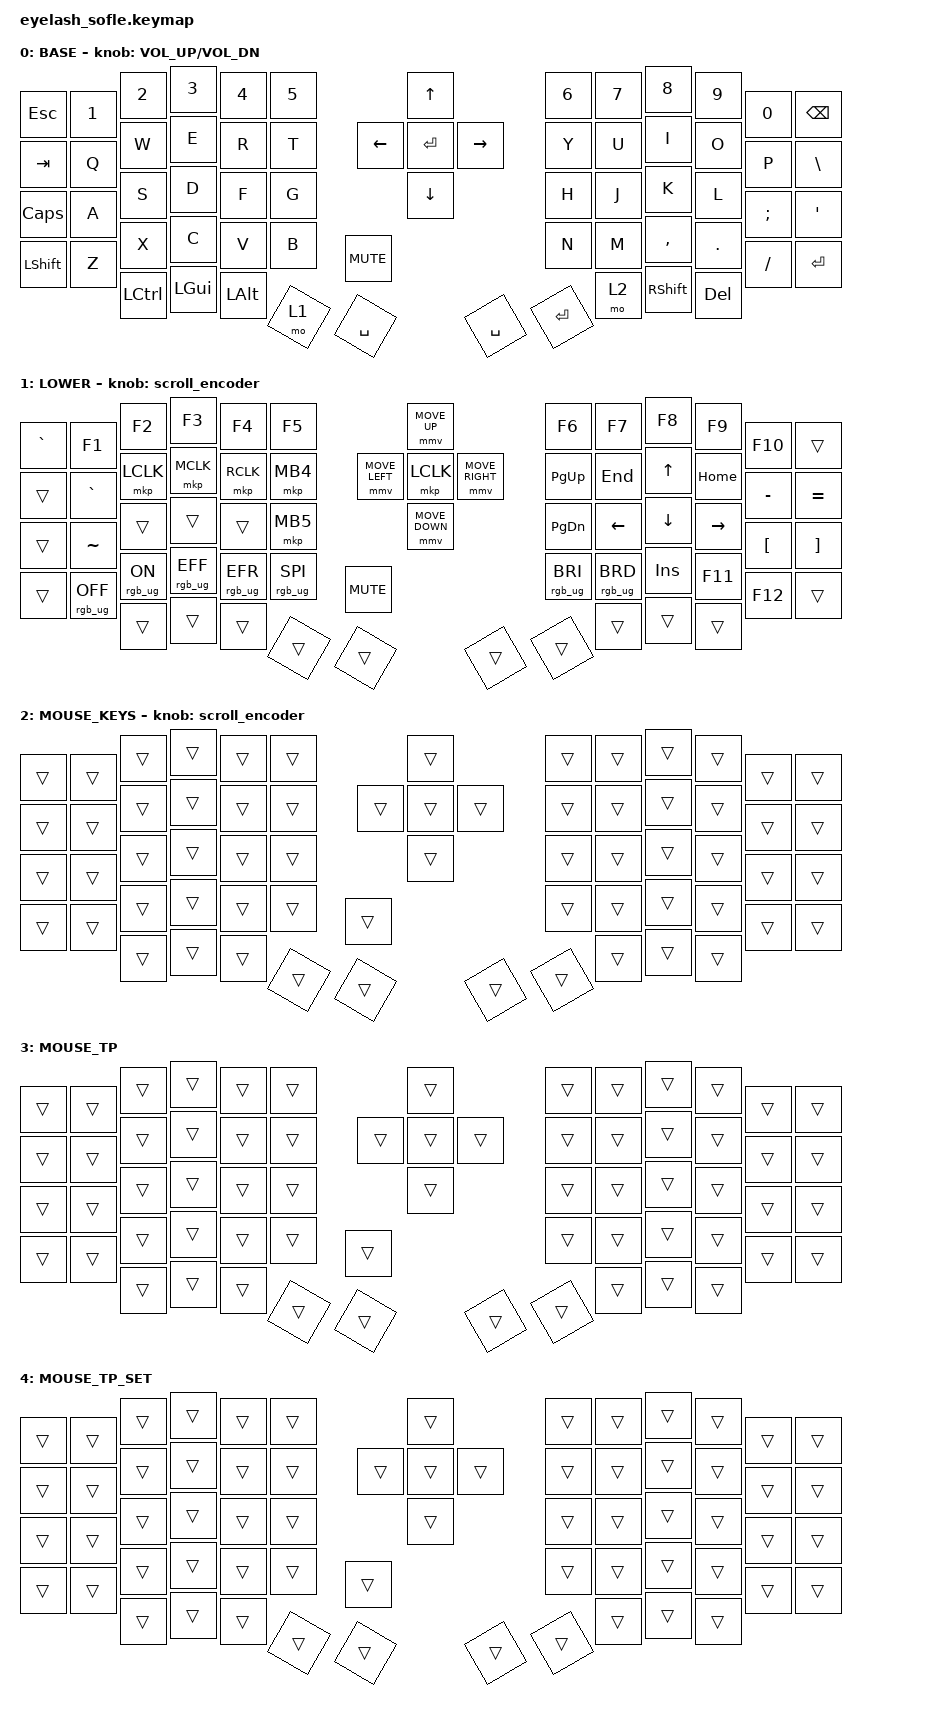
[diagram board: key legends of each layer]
#define ZMK_POINTING_DEFAULT_MOVE_VAL 1200  // 600
#define ZMK_POINTING_DEFAULT_SCRL_VAL 25   // 10

#include <input/processors.dtsi>
#include <zephyr/dt-bindings/input/input-event-codes.h>
#include <behaviors.dtsi>
#include <dt-bindings/zmk/bt.h>
#include <dt-bindings/zmk/ext_power.h>
#include <dt-bindings/zmk/keys.h>
#include <dt-bindings/zmk/pointing.h>
#include <dt-bindings/zmk/rgb.h>
#include <dt-bindings/zmk/outputs.h>


#define BASE 0
#define LOWER 1
#define MOUSE_KEYS 2
#define MOUSE_TP 3
#define MOUSE_TP_SET 4

// trackpoint setting start

/*
 * Defines to enable/disable features
 *
 * These defines allow us to conditionally enable and disable parts of the keymap config.
 *
 * For example, if we decide to build the firmware without the mouse features, we can
 * disable all the config options that rely on those forks and modules without having
 * to edit the entire keymap file manually every time.
 */

#define HAS_MOUSE_KEYS
#define HAS_MOUSE_TP

#ifdef HAS_MOUSE_KEYS
  #include <dt-bindings/zmk/mouse.h>
  #include <behaviors/mouse_keys.dtsi>
#endif  // HAS_MOUSE_KEYS

#ifdef HAS_MOUSE_TP
  // We store the trackpoint settings in a separate file
  // to make organization a little easier.
  #include "include/mouse_tp.dtsi"
#endif  // HAS_MOUSE_TP



// Adjust layer keys based on enabled features.
//
// This prevents build errors when we build the firmware
// without the mouse keys PR or the TP module.
#ifdef HAS_MOUSE_KEYS
  #define U_THUMB_INNER &mo MOUSE_KEYS
#else
  #define U_THUMB_INNER &none
#endif  // HAS_MOUSE_KEYS

#ifdef HAS_MOUSE_TP
  #define U_TOG_TP_SET &tog MOUSE_TP_SET
#else
  #define U_TOG_TP_SET &none
#endif  // HAS_MOUSE_TP

// trackpoint setting end


/ {
    scroll_encoder: scroll_encoder {
        compatible = "zmk,behavior-sensor-rotate";
        #sensor-binding-cells = <0>;
        bindings = <&msc SCRL_DOWN>, <&msc SCRL_UP>;
        tap-ms = <100>;
    };

    keymap {
        compatible = "zmk,keymap";
        BASE {
            display-name = "BASE";
            bindings = <
&kp ESC     &kp N1     &kp N2        &kp N3        &kp N4  &kp N5       &kp UP_ARROW     &kp N6     &kp N7     &kp N8     &kp N9           &kp N0      &kp BACKSPACE
&kp TAB     &kp Q      &kp W         &kp E         &kp R   &kp T        &kp DOWN_ARROW   &kp Y      &kp U      &kp I      &kp O            &kp P       &kp BSLH
&kp CAPS    &kp A      &kp S         &kp D         &kp F   &kp G        &kp LEFT_ARROW   &kp H      &kp J      &kp K      &kp L            &kp SEMI    &kp APOS
&kp LSHFT   &kp Z      &kp X         &kp C         &kp V   &kp B        &kp RIGHT_ARROW  &kp N      &kp M      &kp COMMA  &kp DOT          &kp FSLH    &kp ENTER
&kp C_MUTE  &kp LCTRL  &kp LEFT_GUI  &kp LEFT_ALT  &mo 1   &kp SPACE    &kp ENTER        &kp SPACE  &kp ENTER  &mo 2      &kp RIGHT_SHIFT  &kp DELETE
            >;
            sensor-bindings = <&inc_dec_kp C_VOLUME_UP C_VOL_DN>;
        };

        LOWER {
            display-name = "LOWER";
            bindings = <
&kp GRAVE   &kp F1           &kp F2          &kp F3           &kp F4           &kp F5             &mmv MOVE_UP     &kp F6           &kp F7           &kp F8      &kp F9     &kp F10           &trans
&trans      &kp GRAVE        &mkp LCLK       &mkp MCLK        &mkp RCLK        &mkp MB4           &mmv MOVE_DOWN   &kp PG_UP        &kp END          &kp UP      &kp HOME   &kp MINUS         &kp EQUAL
&trans      &kp TILDE        &trans          &trans           &trans           &mkp MB5           &mmv MOVE_LEFT   &kp PG_DN        &kp LEFT         &kp DOWN    &kp RIGHT  &kp LEFT_BRACKET  &kp RIGHT_BRACKET
&trans      &rgb_ug RGB_OFF  &rgb_ug RGB_ON  &rgb_ug RGB_EFF  &rgb_ug RGB_EFR  &rgb_ug RGB_SPI    &mmv MOVE_RIGHT  &rgb_ug RGB_BRI  &rgb_ug RGB_BRD  &kp INSERT  &kp F11    &kp F12           &trans
&kp C_MUTE  &trans           &trans          &trans           &trans           &trans             &mkp LCLK        &trans           &trans           &trans      &trans     &trans
            >;
            sensor-bindings = <&scroll_encoder>;
        };
#ifdef HAS_MOUSE_KEYS
        MOUSE_KEYS {
            bindings = <
&trans  &trans  &trans  &trans  &trans  &trans    &trans  &trans  &trans  &trans  &trans  &trans  &trans
&trans  &trans  &trans  &trans  &trans  &trans    &trans  &trans  &trans  &trans  &trans  &trans  &trans
&trans  &trans  &trans  &trans  &trans  &trans    &trans  &trans  &trans  &trans  &trans  &trans  &trans
&trans  &trans  &trans  &trans  &trans  &trans    &trans  &trans  &trans  &trans  &trans  &trans  &trans
&trans  &trans  &trans  &trans  &trans  &trans    &trans  &trans  &trans  &trans  &trans  &trans
            >;
            sensor-bindings = <&scroll_encoder>;
        };
#endif
#ifdef HAS_MOUSE_TP
        MOUSE_TP {
            bindings = <
&trans  &trans  &trans  &trans  &trans  &trans    &trans  &trans  &trans  &trans  &trans  &trans  &trans
&trans  &trans  &trans  &trans  &trans  &trans    &trans  &trans  &trans  &trans  &trans  &trans  &trans
&trans  &trans  &trans  &trans  &trans  &trans    &trans  &trans  &trans  &trans  &trans  &trans  &trans
&trans  &trans  &trans  &trans  &trans  &trans    &trans  &trans  &trans  &trans  &trans  &trans  &trans
&trans  &trans  &trans  &trans  &trans  &trans    &trans  &trans  &trans  &trans  &trans  &trans
            >;
        };
        MOUSE_TP_SET {
            bindings = <
&trans  &trans  &trans  &trans  &trans  &trans    &trans  &trans  &trans  &trans  &trans  &trans  &trans
&trans  &trans  &trans  &trans  &trans  &trans    &trans  &trans  &trans  &trans  &trans  &trans  &trans
&trans  &trans  &trans  &trans  &trans  &trans    &trans  &trans  &trans  &trans  &trans  &trans  &trans
&trans  &trans  &trans  &trans  &trans  &trans    &trans  &trans  &trans  &trans  &trans  &trans  &trans
&trans  &trans  &trans  &trans  &trans  &trans    &trans  &trans  &trans  &trans  &trans  &trans
            >;
        };
#endif
    };
};

/* 다른 파일 거치지 않고 키맵에서 직접 강제 활성화 */
&uart0 { status = "okay"; };
&uart_ps2 { status = "okay"; };
&mouse_ps2 { status = "okay"; };
&mouse_ps2_input_listener { status = "okay"; };
